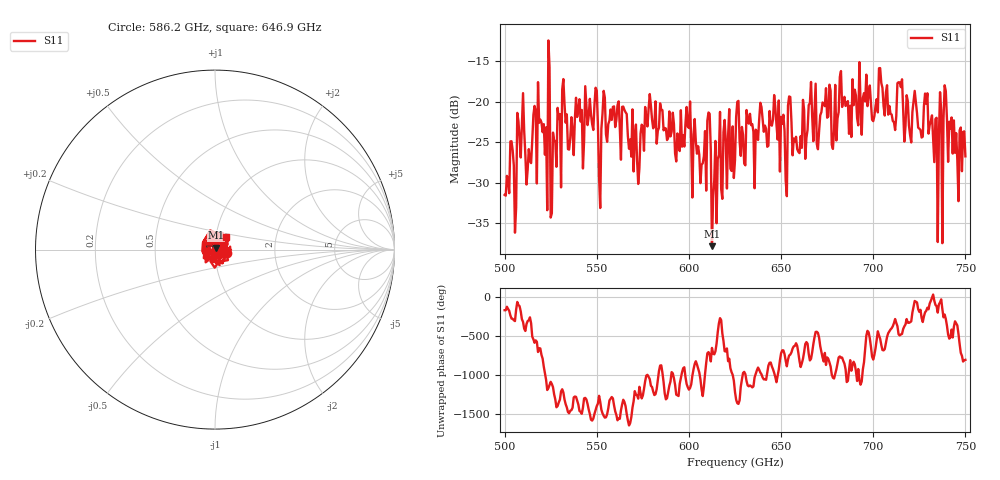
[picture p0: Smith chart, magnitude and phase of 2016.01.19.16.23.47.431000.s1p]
!Created with skrf (http://scikit-rf.org).
# GHz S RI R 50.0
!freq ReS11 ImS11
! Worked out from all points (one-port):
!   401 points, 500 GHz to 750 GHz, reference 50 ohm
!   lowest |S11| = -37.8 dB at 612.5 GHz (marker M1), VSWR 1.03, Z = 50.5 + j1.18 ohm
!   |S11| at or under -10 dB: start of sweep to end of sweep
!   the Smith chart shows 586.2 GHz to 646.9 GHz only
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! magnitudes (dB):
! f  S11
! 500 GHz  -31.5
! 508.8 GHz  -26.9
! 513.1 GHz  -25.8
! 516.9 GHz  -21.1
! 521.9 GHz  -26.5
! 523.1 GHz  -33.4
! 526.2 GHz  -23.8
! 531.2 GHz  -18.5
! 549.4 GHz  -18.3
! 551.9 GHz  -33.1
! 553.8 GHz  -18.6
! 562.5 GHz  -23.2
! 593.8 GHz  -23.9
! 599.4 GHz  -23.1
! 606.9 GHz  -27.8
! 610 GHz  -22.3
! 612.5 GHz  -37.8
! 625 GHz  -27.2
! 656.2 GHz  -26.6
! 687.5 GHz  -20.5
! 704.4 GHz  -17.7
! 711.2 GHz  -22.5
! 714.4 GHz  -17.6
! 718.8 GHz  -19.9
! 728.8 GHz  -20.2
! 736.2 GHz  -18.8
! 739.4 GHz  -18.7
! 750 GHz  -26.7
